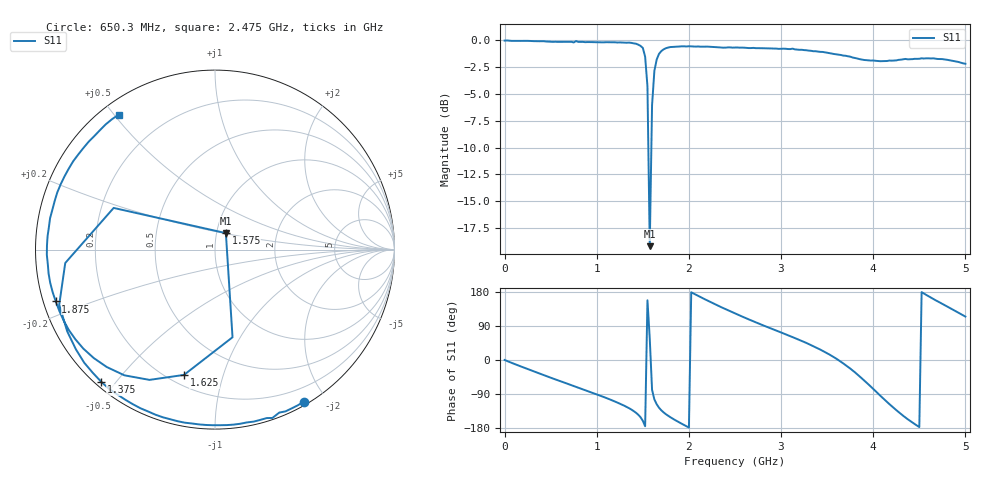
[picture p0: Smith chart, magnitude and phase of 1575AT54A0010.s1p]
! 1575AT54A0010
! dc to 5GHz
!Date: Wednesday, September 08, 2010 13:53:27
!Correction: S11(Full 1 Port(1))
!S1P File: Measurement: S11:
# Hz S  MA  R 50
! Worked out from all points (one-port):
!   201 points, 300 kHz to 5 GHz, reference 50 ohm
!   lowest |S11| = -19.2 dB at 1.575 GHz (marker M1), VSWR 1.25, Z = 55.4 + j10.3 ohm
!   |S11| at or under -10 dB: 1.56 GHz to 1.593 GHz (32.89 MHz wide, 2.09 % of centre)
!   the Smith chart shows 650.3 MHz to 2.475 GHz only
!   S11 on the Smith chart (normalised r, x): 650.3 MHz: 0.04, -1.74; 1.375 GHz: 0.02, -0.46; 1.575 GHz: 1.11, +0.21; 1.625 GHz: 0.26, -0.75; 1.875 GHz: 0.04, -0.16; 2.475 GHz: 0.05, +0.51
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300000  0.996 0.1
3.00282e8  0.9915 -28.4
6.252625e8  0.9816 -57.6
6.50261e8  0.9817 -59.8
9.50243e8  0.9799 -86.1
1.250225e9  0.9767 -115.2
1.375218e9  0.9719 -130.7
1.475212e9  0.941 -151.1
1.525208e9  0.8376 -174.9
1.550207e9  0.6105 157.6
1.575206e9  0.1099 56.6
1.600204e9  0.4981 -78.7
1.625202e9  0.7191 -103.9
1.725196e9  0.9063 -138.2
1.875188e9  0.9331 -162.0
2.17517e9  0.9347 160.0
2.475152e9  0.9236 125.5
2.50015e9  0.9247 122.8
2.800132e9  0.9177 91.9
3.125112e9  0.9135 60.3
3.475092e9  0.8786 21.1
3.750075e9  0.8385 -22.5
3.925064e9  0.8074 -59.1
4.050057e9  0.8006 -88.0
4.17505e9  0.804 -116.4
4.375038e9  0.8147 -156.4
4.650021e9  0.8235 161.3
5e9  0.777 114.6
